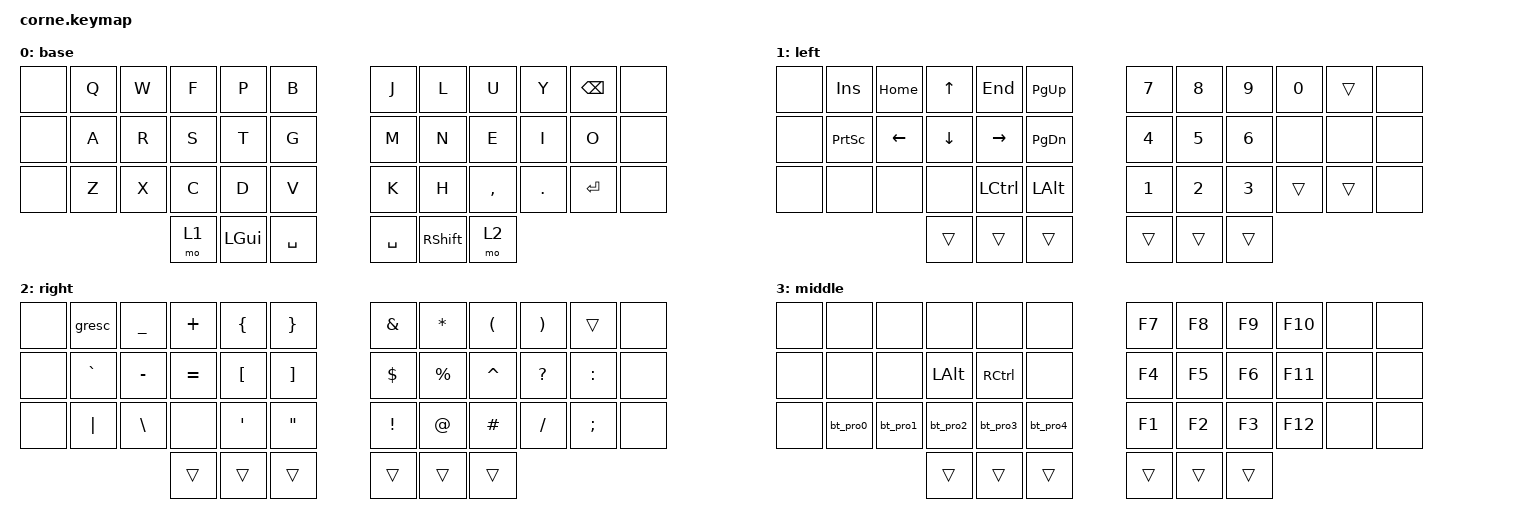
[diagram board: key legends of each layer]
/*
 * Copyright (c) 2020 The ZMK Contributors
 *
 * SPDX-License-Identifier: MIT
 */
// Customizations

#include <behaviors.dtsi>
#include <dt-bindings/zmk/bt.h>
#include <dt-bindings/zmk/keys.h>
#include <dt-bindings/zmk/outputs.h>

&mt { tapping-term-ms = <300>; };

/ {
    combos {
        compatible = "zmk,combos";

        Esc {
            bindings = <&kp ESC>;
            key-positions = <2 3>;
            layers = <0>;
        };

        Tab {
            bindings = <&kp TAB>;
            key-positions = <14 15>;
            layers = <0>;
        };

        bt_clr_profile {
            bindings = <&bt BT_CLR>;
            key-positions = <5 6>;
            layers = <3>;
        };

        Delete {
            bindings = <&kp DEL>;
            key-positions = <9 8>;
            layers = <0 1 2 3>;
        };

        USB_Output {
            bindings = <&out OUT_USB>;
            key-positions = <17 18>;
            layers = <3>;
        };

        BLE_Output {
            bindings = <&out OUT_BLE>;
            key-positions = <29 30>;
            layers = <3>;
        };

        Copy {
            bindings = <&kp LC(C)>;
            key-positions = <27 28>;
            layers = <0>;
        };

        Paste {
            bindings = <&kp LC(V)>;
            key-positions = <28 29>;
            layers = <0>;
        };

        Alt_Ctrl_Del {
            bindings = <&kp RA(RC(DELETE))>;
            key-positions = <5 6>;
            layers = <0>;
        };

        Undo {
            bindings = <&kp LC(Z)>;
            key-positions = <25 26>;
            layers = <0>;
        };

        Cut {
            bindings = <&kp LC(X)>;
            key-positions = <26 27>;
            layers = <0>;
        };

        RCtrl {
            bindings = <&kp RCTRL>;
            key-positions = <33 32>;
            layers = <0>;
        };

        RAlt {
            bindings = <&kp RIGHT_ALT>;
            key-positions = <32 31>;
            layers = <0>;
        };
    };

    behaviors {
        bt_pro0: bt_pro0 {
            compatible = "zmk,behavior-tap-dance";
            label = "BT_PRO0";
            #binding-cells = <0>;
            bindings = <&bt BT_SEL 0>, <&bt BT_DISC 0>;
        };

        bt_pro1: bt_pro1 {
            compatible = "zmk,behavior-tap-dance";
            label = "BT_PRO1";
            #binding-cells = <0>;
            bindings = <&bt BT_SEL 1>, <&bt BT_DISC 1>;
        };

        bt_pro2: bt_pro2 {
            compatible = "zmk,behavior-tap-dance";
            label = "BT_PRO2";
            #binding-cells = <0>;
            bindings = <&bt BT_SEL 2>, <&bt BT_DISC 2>;
        };

        bt_pro3: bt_pro3 {
            compatible = "zmk,behavior-tap-dance";
            label = "BT_PRO3";
            #binding-cells = <0>;
            bindings = <&bt BT_SEL 3>, <&bt BT_DISC 3>;
        };

        bt_pro4: bt_pro4 {
            compatible = "zmk,behavior-tap-dance";
            label = "BT_PRO4";
            #binding-cells = <0>;
            bindings = <&bt BT_SEL 4>, <&bt BT_DISC 4>;
        };
    };

    keymap {
        compatible = "zmk,keymap";

        base {
            bindings = <
&none  &kp Q  &kp W  &kp F  &kp P         &kp B        &kp J      &kp L            &kp U      &kp Y       &kp BACKSPACE  &none
&none  &kp A  &kp R  &kp S  &kp T         &kp G        &kp M      &kp N            &kp E      &kp I       &kp O          &none
&none  &kp Z  &kp X  &kp C  &kp D         &kp V        &kp K      &kp H            &kp COMMA  &kp PERIOD  &kp RET        &none
                     &mo 1  &kp LEFT_GUI  &kp SPACE    &kp SPACE  &kp RIGHT_SHIFT  &mo 2
            >;
        };

        left {
            bindings = <
&none  &kp INS          &kp HOME  &kp UP    &kp END    &kp PAGE_UP      &kp N7  &kp N8  &kp N9  &kp N0  &trans  &none
&none  &kp PRINTSCREEN  &kp LEFT  &kp DOWN  &kp RIGHT  &kp PAGE_DOWN    &kp N4  &kp N5  &kp N6  &none   &none   &none
&none  &none            &none     &none     &kp LCTRL  &kp LEFT_ALT     &kp N1  &kp N2  &kp N3  &trans  &trans  &none
                                  &trans    &trans     &trans           &trans  &trans  &trans
            >;
        };

        right {
            bindings = <
&none  &gresc     &kp UNDER      &kp PLUS   &kp LEFT_BRACE    &kp RIGHT_BRACE      &kp AMPS    &kp ASTRK    &kp LEFT_PARENTHESIS  &kp RIGHT_PARENTHESIS  &trans     &none
&none  &kp GRAVE  &kp MINUS      &kp EQUAL  &kp LEFT_BRACKET  &kp RIGHT_BRACKET    &kp DOLLAR  &kp PERCENT  &kp CARET             &kp QUESTION           &kp COLON  &none
&none  &kp PIPE   &kp BACKSLASH  &none      &kp SINGLE_QUOTE  &kp DOUBLE_QUOTES    &kp EXCL    &kp AT       &kp HASH              &kp SLASH              &kp SEMI   &none
                                 &trans     &trans            &trans               &trans      &trans       &trans
            >;
        };

        middle {
            bindings = <
&none  &none     &none     &none         &none      &none       &kp F7  &kp F8  &kp F9  &kp F10  &none  &none
&none  &none     &none     &kp LEFT_ALT  &kp RCTRL  &none       &kp F4  &kp F5  &kp F6  &kp F11  &none  &none
&none  &bt_pro0  &bt_pro1  &bt_pro2      &bt_pro3   &bt_pro4    &kp F1  &kp F2  &kp F3  &kp F12  &none  &none
                           &trans        &trans     &trans      &trans  &trans  &trans
            >;
        };
    };

    conditional_layers {
        compatible = "zmk,conditional-layers";

        layer3_condition {
            if-layers = <1 2>;
            then-layer = <3>;
        };
    };
};
